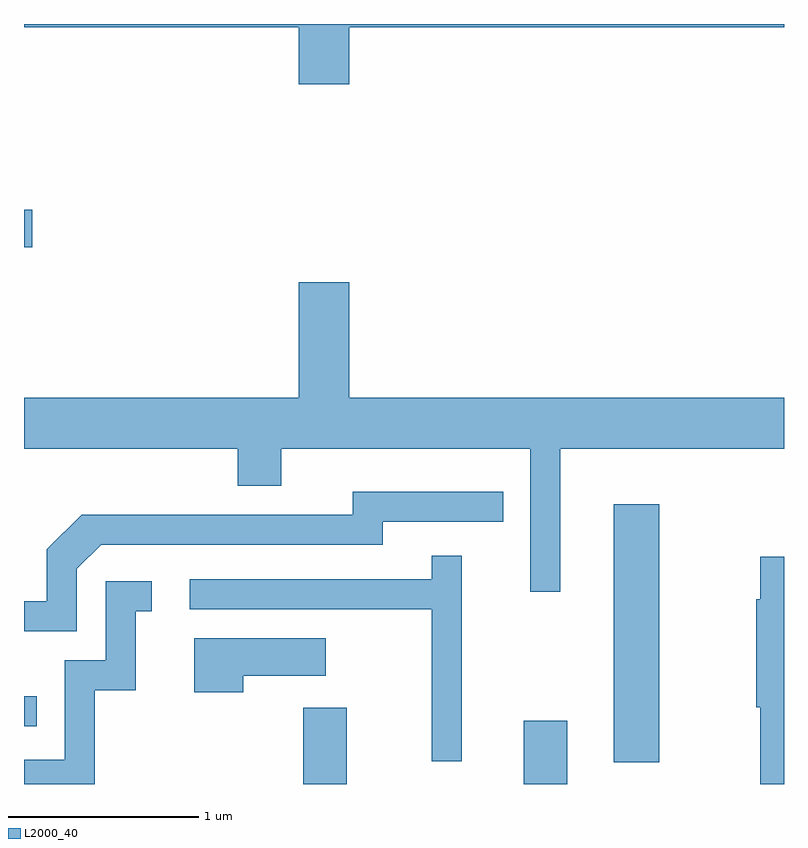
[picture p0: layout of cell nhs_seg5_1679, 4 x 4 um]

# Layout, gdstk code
import gdstk
lib = gdstk.Library(unit=1e-6, precision=1e-09)
def R(c, l, rs):  # rectangles x0, y0, x1, y1
    for r in rs: c.add(gdstk.rectangle(r[:2], r[2:], *l))
def P(c, l, *ps):  # polygons
    for p in ps: c.add(gdstk.Polygon(p, *l))
L2000_40 = (2000, 40)

nhs_seg5_1679 = lib.new_cell('nhs_seg5_1679')
R(nhs_seg5_1679, L2000_40, [(235.081,1526.072,235.309,1526.474), (236.241,1526.072,236.469,1526.404), (236.716,1526.186,236.954,1527.544), (233.611,1526.376,233.678,1526.534), (233.611,1528.896,233.654,1529.094)])
P(nhs_seg5_1679, L2000_40, [(235.324,1530.056),(237.611,1530.056),(237.611,1530.072),(233.611,1530.072),(233.611,1530.056),(235.056,1530.056),(235.056,1529.756),(235.324,1529.756)],
  [(236.434,1527.836),(237.611,1527.836),(237.611,1528.104),(235.324,1528.104),(235.324,1528.714),(235.056,1528.714),(235.056,1528.104),(233.611,1528.104),(233.611,1527.836),(234.736,1527.836),(234.736,1527.641),(234.964,1527.641),(234.964,1527.836),(236.276,1527.836),(236.276,1527.083),(236.434,1527.083)],
  [(233.889,1527.204),(234.017,1527.331),(235.499,1527.331),(235.499,1527.451),(236.133,1527.451),(236.133,1527.609),(235.341,1527.609),(235.341,1527.489),(233.914,1527.489),(233.731,1527.307),(233.731,1527.034),(233.611,1527.034),(233.611,1526.876),(233.889,1526.876)],
  [(235.914,1527.273),(235.756,1527.273),(235.756,1527.149),(234.483,1527.149),(234.483,1526.991),(235.756,1526.991),(235.756,1526.193),(235.914,1526.193)],
  [(237.611,1527.269),(237.486,1527.269),(237.486,1527.044),(237.466,1527.044),(237.466,1526.476),(237.486,1526.476),(237.486,1526.072),(237.611,1526.072)],
  [(233.984,1526.566),(234.199,1526.566),(234.199,1526.981),(234.283,1526.981),(234.283,1527.139),(234.041,1527.139),(234.041,1526.724),(233.826,1526.724),(233.826,1526.199),(233.611,1526.199),(233.611,1526.072),(233.984,1526.072)],
  [(234.764,1526.641),(235.199,1526.641),(235.199,1526.839),(234.506,1526.839),(234.506,1526.556),(234.764,1526.556)])

lib.write_gds('nhs_seg5_1679.gds')
